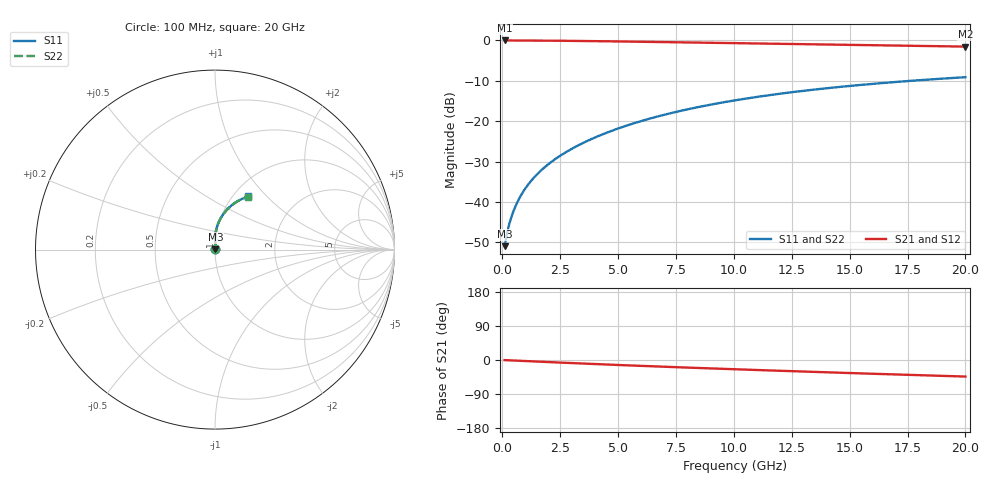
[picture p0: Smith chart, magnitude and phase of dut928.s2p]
! Touchstone file exported from HFSS 2024.1.0
!  File:  C:/UserFiles/LocalFiles/RDL_TSV_Batchsim/temp_RDL_top_928_1779936929.aedt
!  Generated:  10:57:53 AM May 28, 2026
!  Design:  RDL_top
!  Project:  temp_RDL_top_928_1779936929
!  Setup:  Setup1
!  Solution:  Sweep
! Variables:
!  dtsv = 10.80580581um
!  hbump = 3um
!  htsv = 88.34um
!  ldown = 100um
!  lrdl = 619.8um
!  p = 40
!  p1 = 58.35um
!  rhole = 1um
!  t = 450um
!  tdown = 3.915915916um
!  trdl = 3.76um
!  wdown = 15.38538539um
!  wrdl = 28.38um
# GHz S MA R 50.000000
! Terminal data exported
! Port[1] = Box2_T1
! Port[2] = Box2_T2
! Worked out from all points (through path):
!   200 points, 100 MHz to 20 GHz, reference 50 ohm
!   highest |S21| = -0.02 dB at 100 MHz (marker M1); lowest = -1.5 dB at 20 GHz (marker M2)
!   group delay of S21, straight-line fit = 5.98 ps
!   lowest |S11| = -50.9 dB at 100 MHz (marker M3), VSWR 1.01, Z = 50.2 + j0.168 ohm
!   |S11| at or under -10 dB: start of sweep to 17.67 GHz
!   |S22| runs from -50.9 to -9.1 dB; largest |S21 - S12| = 5e-15
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0.1  0.002836 36.0  0.9977 -0.3  0.9977 -0.3  0.002836 36.0
! Gamma 0 0 0 0
! Port Impedance 50 0 50 0
0.2  0.00404 52.5  0.9975 -0.6  0.9975 -0.6  0.004041 52.5
0.3  0.005318 60.8  0.9972 -0.9  0.9972 -0.9  0.005319 60.8
0.4  0.006609 66.2  0.997 -1.1  0.997 -1.1  0.00661 66.2
0.5  0.007919 70.0  0.9969 -1.4  0.9969 -1.4  0.00792 70.0
0.6  0.00925 72.9  0.9967 -1.7  0.9967 -1.7  0.009251 72.9
0.8  0.01197 77.1  0.9962 -2.2  0.9962 -2.2  0.01197 77.1
1.1  0.01618 81.0  0.9954 -3.0  0.9954 -3.0  0.01618 80.9
1.3  0.01905 82.7  0.9948 -3.6  0.9948 -3.6  0.01905 82.7
1.6  0.02345 84.6  0.9937 -4.4  0.9937 -4.4  0.02345 84.6
2.1  0.03102 86.7  0.9914 -5.7  0.9914 -5.7  0.03102 86.7
2.7  0.04053 88.1  0.9879 -7.3  0.9879 -7.3  0.04052 88.1
3.5  0.05393 89.0  0.9825 -9.4  0.9825 -9.4  0.05391 88.9
4.2  0.06631 89.1  0.977 -11.2  0.977 -11.2  0.06627 89.0
5  0.0811 88.6  0.9703 -13.1  0.9703 -13.1  0.08104 88.5
6.8  0.1161 86.1  0.954 -17.4  0.954 -17.4  0.116 86.0
8.4  0.1482 83.0  0.9393 -20.9  0.9393 -20.9  0.148 82.9
10.1  0.182 79.2  0.9237 -24.6  0.9237 -24.6  0.1818 79.2
11.7  0.2131 75.6  0.9093 -27.9  0.9093 -27.9  0.2128 75.5
13.4  0.2446 71.8  0.8941 -31.3  0.8941 -31.3  0.2443 71.7
16.7  0.301 64.6  0.8654 -37.7  0.8654 -37.7  0.3005 64.5
20  0.3502 57.9  0.8376 -43.7  0.8376 -43.7  0.3496 57.8
